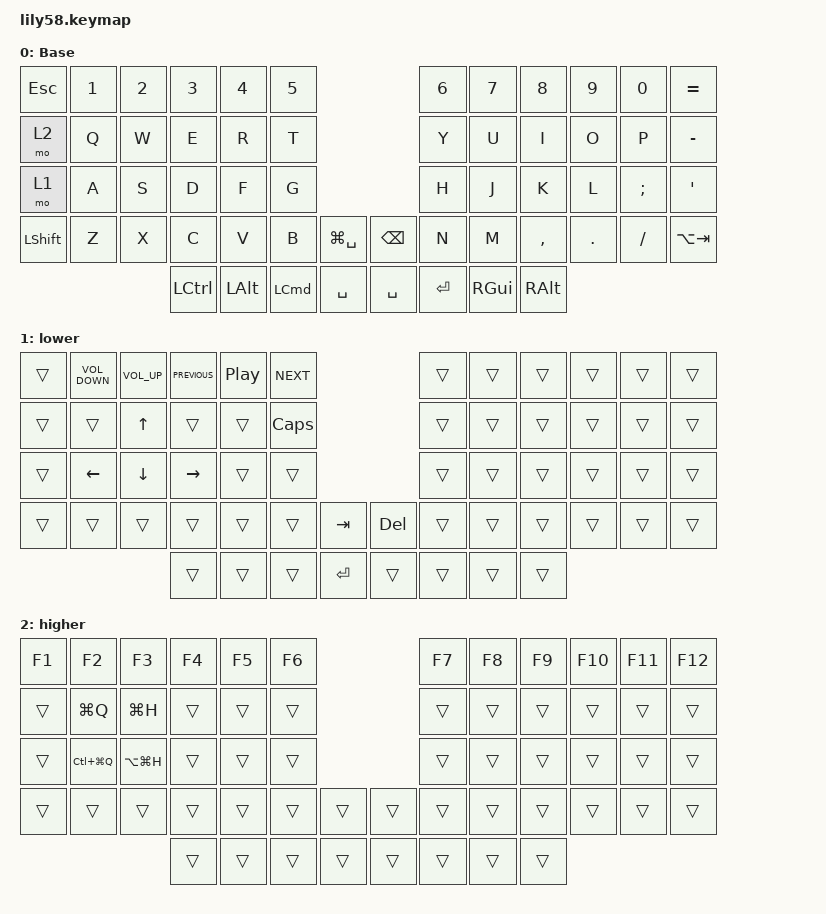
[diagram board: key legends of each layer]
/*
 * Copyright (c) 2020 The ZMK Contributors
 *
 * SPDX-License-Identifier: MIT
 */

#include <behaviors.dtsi>
#include <dt-bindings/zmk/keys.h>

/ {
    keymap {
        compatible = "zmk,keymap";

        default_layer {
            // ------------------------------------------------------------------------------------------------------------
            // |  ESC  |  1  |  2  |  3   |  4   |  5   |                   |  6   |  7    |  8    |  9   |   0   |   `   |
            // |  TAB  |  Q  |  W  |  E   |  R   |  T   |                   |  Y   |  U    |  I    |  O   |   P   |   -   |
            // |  CTRL |  A  |  S  |  D   |  F   |  G   |                   |  H   |  J    |  K    |  L   |   ;   |   '   |
            // | SHIFT |  Z  |  X  |  C   |  V   |  B   |   "["  |  |  "]"  |  N   |  M    |  ,    |  .   |   /   | SHIFT |
            //                     | ALT  | GUI  | LOWER|  SPACE |  | ENTER | RAISE| BSPC  | GUI   |

            display-name = "Base";
            bindings = <
&kp ESC         &kp N1  &kp N2  &kp N3     &kp N4        &kp N5                                    &kp N6     &kp N7         &kp N8         &kp N9   &kp N0    &kp EQUAL
&mo 2           &kp Q   &kp W   &kp E      &kp R         &kp T                                     &kp Y      &kp U          &kp I          &kp O    &kp P     &kp MINUS
&mo 1           &kp A   &kp S   &kp D      &kp F         &kp G                                     &kp H      &kp J          &kp K          &kp L    &kp SEMI  &kp SQT
&kp LEFT_SHIFT  &kp Z   &kp X   &kp C      &kp V         &kp B     &kp LG(SPACE)    &kp BACKSPACE  &kp N      &kp M          &kp COMMA      &kp DOT  &kp FSLH  &kp LA(TAB)
                                &kp LCTRL  &kp LEFT_ALT  &kp LCMD  &kp SPACE        &kp SPACE      &kp ENTER  &kp RIGHT_GUI  &kp RIGHT_ALT
            >;
        };

        lower {
            bindings = <
&trans  &kp C_VOLUME_DOWN  &kp C_VOL_UP  &kp C_PREVIOUS  &kp C_PLAY_PAUSE  &kp C_NEXT                        &trans  &trans  &trans  &trans  &trans  &trans
&trans  &trans             &kp UP        &trans          &trans            &kp CAPSLOCK                      &trans  &trans  &trans  &trans  &trans  &trans
&trans  &kp LEFT           &kp DOWN      &kp RIGHT       &trans            &trans                            &trans  &trans  &trans  &trans  &trans  &trans
&trans  &trans             &trans        &trans          &trans            &trans        &kp TAB    &kp DEL  &trans  &trans  &trans  &trans  &trans  &trans
                                         &trans          &trans            &trans        &kp RET    &trans   &trans  &trans  &trans
            >;
        };

        higher {
            bindings = <
&kp F1  &kp F2         &kp F3         &kp F4  &kp F5  &kp F6                    &kp F7  &kp F8  &kp F9  &kp F10  &kp F11  &kp F12
&trans  &kp LG(Q)      &kp LG(H)      &trans  &trans  &trans                    &trans  &trans  &trans  &trans   &trans   &trans
&trans  &kp LC(LG(Q))  &kp LA(LG(H))  &trans  &trans  &trans                    &trans  &trans  &trans  &trans   &trans   &trans
&trans  &trans         &trans         &trans  &trans  &trans  &trans    &trans  &trans  &trans  &trans  &trans   &trans   &trans
                                      &trans  &trans  &trans  &trans    &trans  &trans  &trans  &trans
            >;
        };
    };
};
